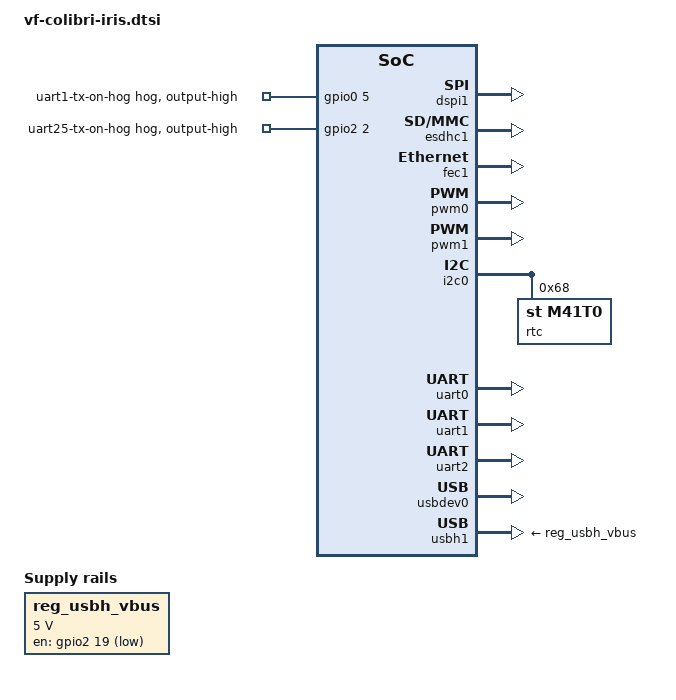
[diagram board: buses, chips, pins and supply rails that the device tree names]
// SPDX-License-Identifier: GPL-2.0-or-later OR MIT
/*
 * Copyright 2026 Mehmet Fide
 *
 * Toradex Iris carrier board V1.1, common part for Colibri VF50 and VF61.
 *
 * The Colibri modules are pin compatible, so the carrier signals sit on the
 * same SODIMM pins as they do for the i.MX modules, whose Iris device trees
 * are already upstream. The two SODIMM pins below are taken from the Colibri
 * VFxx datasheet (102 -> PTA12 -> PORT0[5], 104 -> PTD28 -> PORT2[2]).
 *
 * An Iris V2.0 carries the same signals on the same pins, so everything here
 * works on it as well. What it adds is a regulator on SODIMM 100 that can cut
 * power to the uSD slot, which this file does not describe.
 */

/ {
	chosen {
		stdout-path = "serial0:115200n8";
	};

	reg_usbh_vbus: regulator-usbh-vbus {
		compatible = "regulator-fixed";
		pinctrl-names = "default";
		pinctrl-0 = <&pinctrl_usbh1_reg>;
		regulator-name = "VCC_USB[1-4]";
		regulator-min-microvolt = <5000000>;
		regulator-max-microvolt = <5000000>;
		gpio = <&gpio2 19 GPIO_ACTIVE_LOW>;	/* SODIMM 129, USBH_PEN */
	};
};

&gpio0 {
	/*
	 * The RS232 transceivers on the carrier are switched on by these two
	 * lines. Delete the hog to turn a transceiver off from userspace.
	 * The pin group belongs to the gpio controller rather than to iomuxc,
	 * which would depend on its own child and log a dependency cycle.
	 */
	pinctrl-names = "default";
	pinctrl-0 = <&pinctrl_iris_uart1_tx_on>;

	uart1-tx-on-hog {
		gpio-hog;
		gpios = <5 GPIO_ACTIVE_HIGH>;	/* SODIMM 102 */
		output-high;
	};
};

&gpio2 {
	pinctrl-names = "default";
	/* keep the EXT_IO group from vf-colibri.dtsi alongside ours */
	pinctrl-0 = <&pinctrl_gpio_ext>, <&pinctrl_iris_uart25_tx_on>;

	uart25-tx-on-hog {
		gpio-hog;
		gpios = <2 GPIO_ACTIVE_HIGH>;	/* SODIMM 104 */
		output-high;
	};
};

&iomuxc {
	pinctrl_iris_uart1_tx_on: irisuart1txongrp {
		fsl,pins = <
			VF610_PAD_PTA12__GPIO_5		0x22ef
		>;
	};

	pinctrl_iris_uart25_tx_on: irisuart25txongrp {
		fsl,pins = <
			VF610_PAD_PTD28__GPIO_66	0x22ef
		>;
	};
};

/* Colibri SSP, on the extension connector */
&dspi1 {
	status = "okay";
};

&esdhc1 {
	status = "okay";
};

&fec1 {
	status = "okay";
};

&pwm0 {
	status = "okay";
};

&pwm1 {
	status = "okay";
};

&i2c0 {
	status = "okay";

	/* M41T0M6 real time clock on the carrier */
	rtc@68 {
		compatible = "st,m41t0";
		reg = <0x68>;
	};
};

&uart0 {
	status = "okay";
};

&uart1 {
	status = "okay";
};

&uart2 {
	status = "okay";
};

&usbdev0 {
	status = "okay";
};

&usbh1 {
	vbus-supply = <&reg_usbh_vbus>;
	status = "okay";
};
